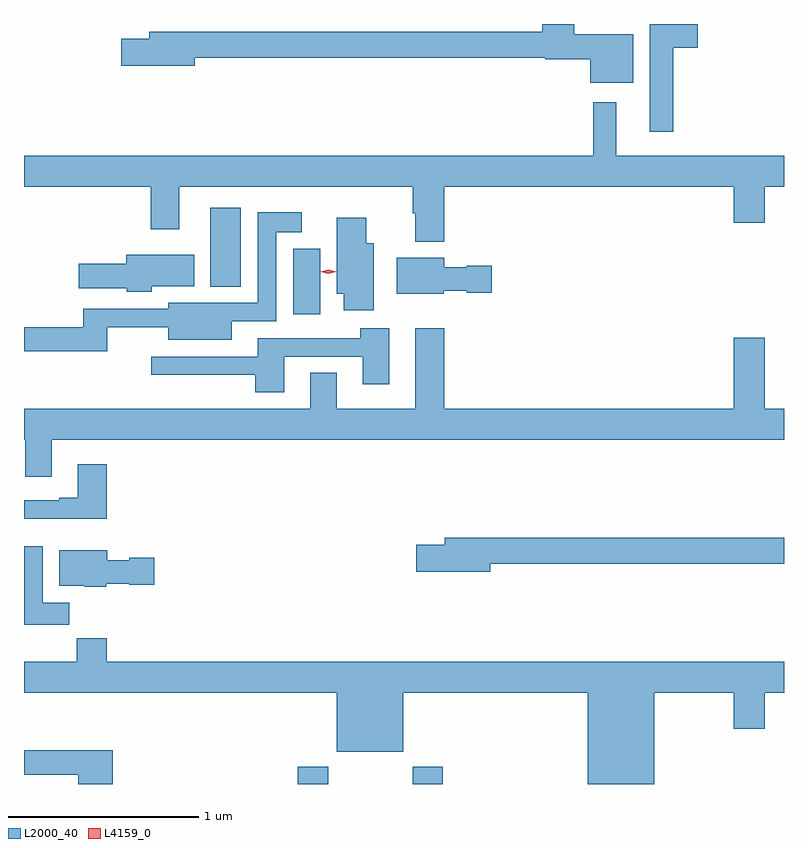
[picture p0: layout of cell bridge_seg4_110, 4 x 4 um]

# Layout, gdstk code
import gdstk
lib = gdstk.Library(unit=1e-6, precision=1e-09)
def R(c, l, rs):  # rectangles x0, y0, x1, y1
    for r in rs: c.add(gdstk.rectangle(r[:2], r[2:], *l))
def P(c, l, *ps):  # polygons
    for p in ps: c.add(gdstk.Polygon(p, *l))
L2000_40 = (2000, 40)
L4159_0 = (4159, 0)

bridge_seg4_110 = lib.new_cell('bridge_seg4_110')
R(bridge_seg4_110, L2000_40, [(570.305,771.033,570.465,771.124), (570.91,771.033,571.07,771.124), (570.281,773.505,570.424,773.851), (569.846,773.651,570.007,774.067)])
P(bridge_seg4_110, L2000_40, [(572.281,774.908),(572.41,774.908),(572.41,775.033),(572.159,775.033),(572.159,774.465),(572.281,774.465)],
  [(572.071,774.979),(571.762,774.979),(571.762,775.033),(571.592,775.033),(571.592,774.992),(569.525,774.992),(569.525,774.956),(569.376,774.956),(569.376,774.814),(569.764,774.814),(569.764,774.856),(571.608,774.856),(571.608,774.848),(571.844,774.848),(571.844,774.725),(572.071,774.725)],
  [(571.076,774.176),(572.6,774.176),(572.6,773.988),(572.764,773.988),(572.764,774.176),(572.865,774.176),(572.865,774.34),(571.981,774.34),(571.981,774.622),(571.86,774.622),(571.86,774.34),(568.865,774.34),(568.865,774.176),(569.531,774.176),(569.531,773.952),(569.683,773.952),(569.683,774.176),(570.911,774.176),(570.911,774.038),(570.923,774.038),(570.923,773.888),(571.076,773.888)],
  [(569.302,773.438),(569.624,773.438),(569.624,773.372),(569.959,773.372),(569.959,773.469),(570.192,773.469),(570.192,773.936),(570.328,773.936),(570.328,774.043),(570.096,774.043),(570.096,773.565),(569.85,773.565),(569.85,773.566),(569.624,773.566),(569.624,773.535),(569.177,773.535),(569.177,773.438),(568.865,773.438),(568.865,773.31),(569.302,773.31)],
  [(570.706,773.878),(570.667,773.878),(570.667,774.013),(570.512,774.013),(570.512,773.612),(570.548,773.612),(570.548,773.526),(570.706,773.526)],
  [(569.538,773.654),(569.761,773.654),(569.761,773.818),(569.402,773.818),(569.402,773.772),(569.154,773.772),(569.154,773.642),(569.406,773.642),(569.406,773.624),(569.538,773.624)],
  [(571.074,773.63),(571.194,773.63),(571.194,773.618),(571.327,773.618),(571.327,773.76),(571.194,773.76),(571.194,773.752),(571.078,773.752),(571.078,773.803),(570.827,773.803),(570.827,773.612),(571.074,773.612)],
  [(569.011,772.844),(572.865,772.844),(572.865,773.008),(572.764,773.008),(572.764,773.383),(572.6,773.383),(572.6,773.008),(571.076,773.008),(571.076,773.431),(570.923,773.431),(570.923,773.008),(570.511,773.008),(570.511,773.198),(570.371,773.198),(570.371,773.008),(568.865,773.008),(568.865,772.844),(568.871,772.844),(568.871,772.65),(569.011,772.65)],
  [(570.235,773.283),(570.647,773.283),(570.647,773.136),(570.787,773.136),(570.787,773.431),(570.635,773.431),(570.635,773.379),(570.095,773.379),(570.095,773.283),(569.535,773.283),(569.535,773.186),(570.083,773.186),(570.083,773.094),(570.235,773.094)],
  [(569.3,772.717),(569.147,772.717),(569.147,772.54),(569.051,772.54),(569.051,772.527),(568.865,772.527),(568.865,772.43),(569.3,772.43)],
  [(571.318,772.192),(572.865,772.192),(572.865,772.328),(571.079,772.328),(571.079,772.292),(570.93,772.292),(570.93,772.15),(571.318,772.15)],
  [(569.102,771.988),(568.963,771.988),(568.963,772.285),(568.865,772.285),(568.865,771.87),(569.102,771.87)],
  [(569.298,772.088),(569.418,772.088),(569.418,772.081),(569.551,772.081),(569.551,772.223),(569.418,772.223),(569.418,772.21),(569.302,772.21),(569.302,772.264),(569.051,772.264),(569.051,772.076),(569.184,772.076),(569.184,772.07),(569.298,772.07)],
  [(572.182,771.512),(572.6,771.512),(572.6,771.324),(572.764,771.324),(572.764,771.512),(572.865,771.512),(572.865,771.676),(569.3,771.676),(569.3,771.8),(569.143,771.8),(569.143,771.676),(568.865,771.676),(568.865,771.512),(570.512,771.512),(570.512,771.203),(570.862,771.203),(570.862,771.512),(571.832,771.512),(571.832,771.033),(572.182,771.033)],
  [(569.333,771.211),(568.865,771.211),(568.865,771.082),(569.15,771.082),(569.15,771.033),(569.333,771.033)])
P(bridge_seg4_110, L4159_0, [(570.467,773.719),(570.426,773.728),(570.426,773.729),(570.426,773.729),(570.467,773.739),(570.508,773.73),(570.508,773.73),(570.508,773.73)])

lib.write_gds('bridge_seg4_110.gds')
